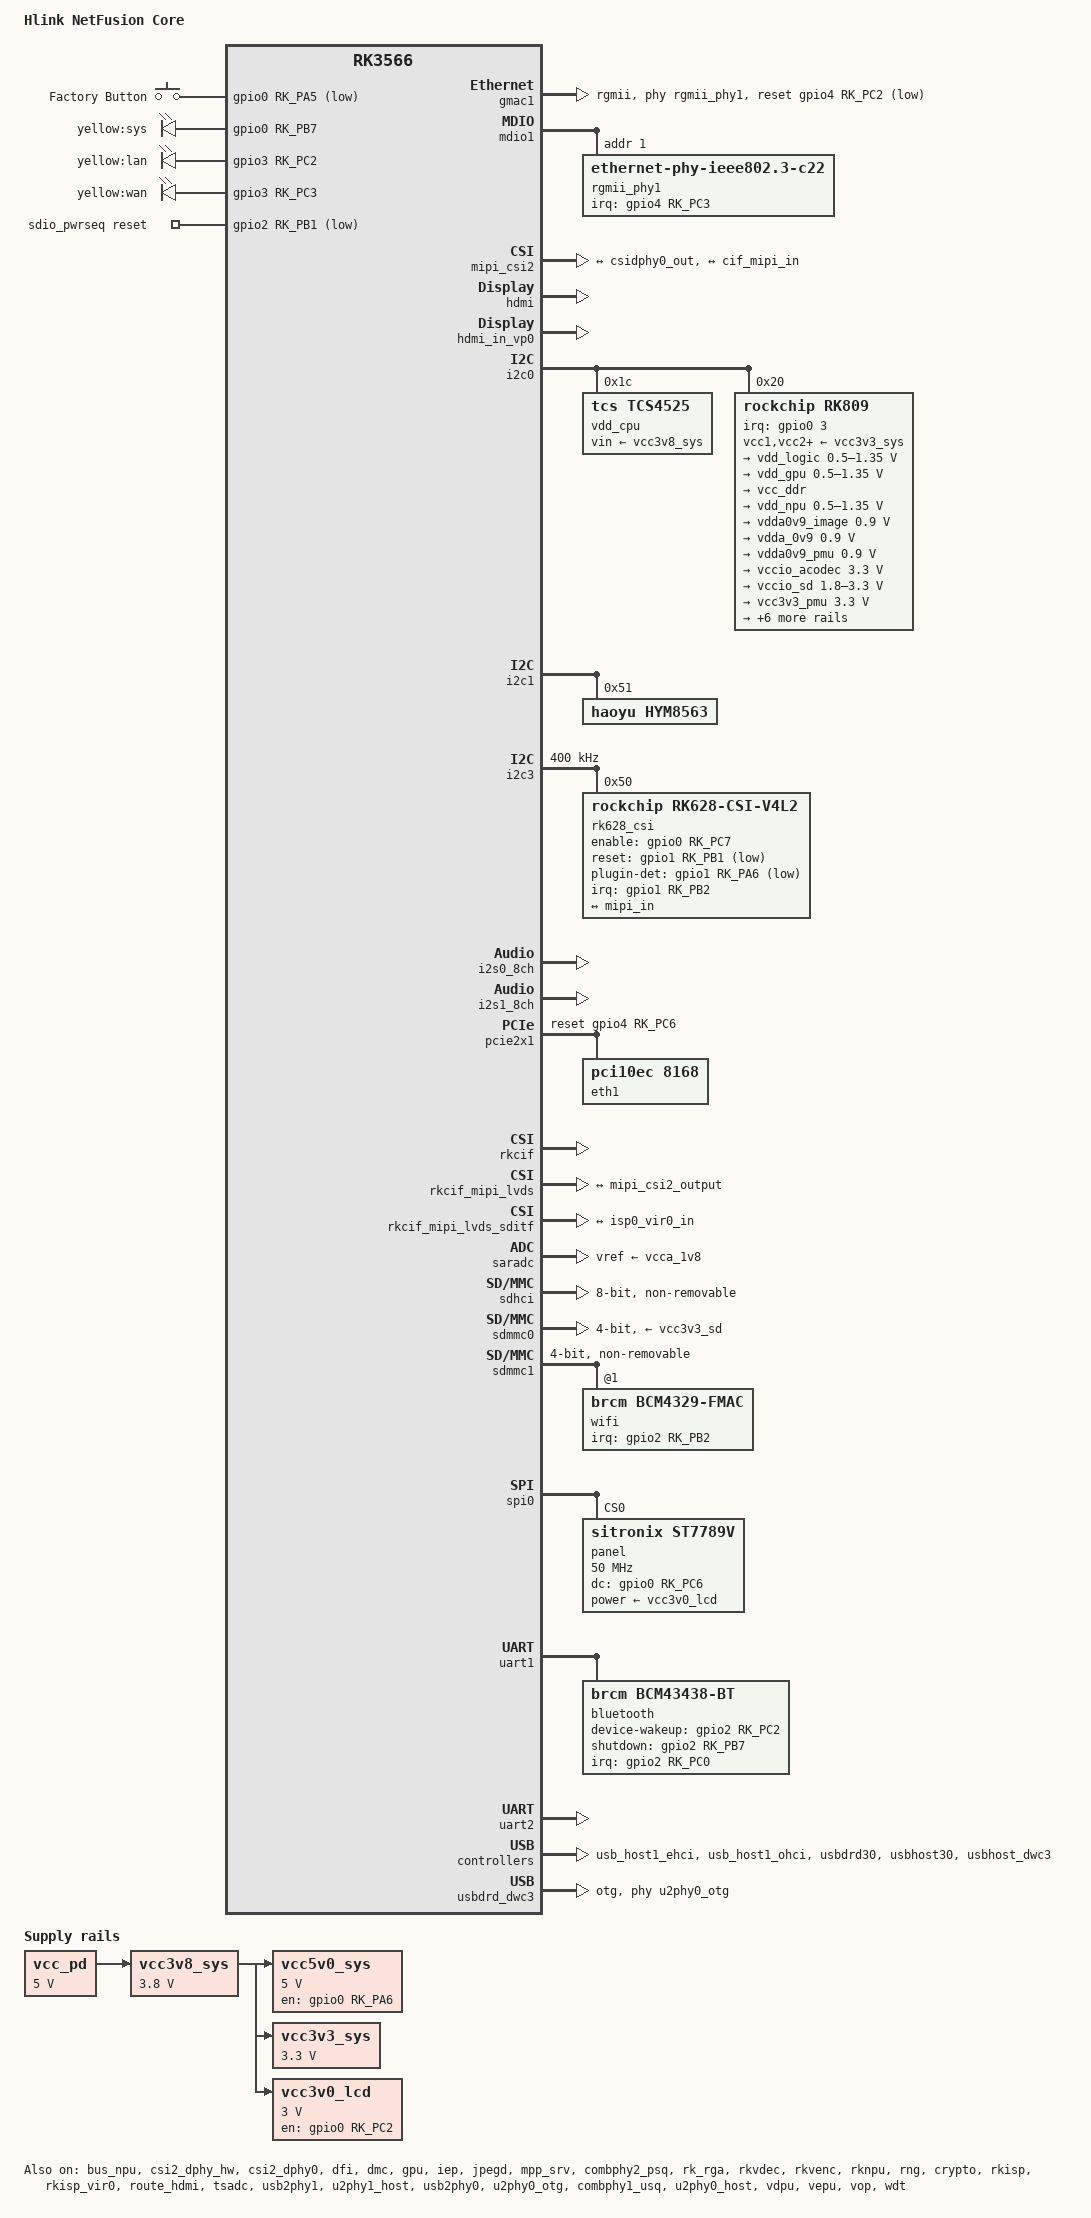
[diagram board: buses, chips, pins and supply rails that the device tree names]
// SPDX-License-Identifier: (GPL-2.0+ OR MIT)
/*
 * Copyright (c) 2025 flippy (flippy@sina.com)
 */

/dts-v1/;
#include <dt-bindings/gpio/gpio.h>
#include <dt-bindings/pwm/pwm.h>
#include <dt-bindings/pinctrl/rockchip.h>
#include <dt-bindings/input/linux-event-codes.h>
#include <dt-bindings/display/drm_mipi_dsi.h>
#include <dt-bindings/display/rockchip_vop.h>
#include <dt-bindings/sensor-dev.h>
#include "rk3566.dtsi"

/ {
	/* Hlink WJYL66 */
	model = "Hlink NetFusion Core";
	compatible = "hlink,netfusion", "rockchip,rk3566";

	chosen: chosen {
		bootargs = "earlycon=uart8250,mmio32,0xfe660000 console=ttyS2,1500000";
	};

	reserved_memory: reserved-memory {
		#address-cells = <2>;
		#size-cells = <2>;
		ranges;

		cma: cma {
			compatible = "shared-dma-pool";
			reusable;
			size = <0x0 0x10000000>;
			linux,cma-default;
		};
		
		ramoops: ramoops@110000 {
			compatible = "ramoops";
			reg = <0x0 0x110000 0x0 0xf0000>;
			record-size = <0x20000>;
			console-size = <0x80000>;
			ftrace-size = <0x00000>;
			pmsg-size = <0x50000>;
		};

		rknpu_reserved: rknpu {
			compatible = "shared-dma-pool";
			inactive;
			reusable;
			size = <0x0 0x20000000>;
			alignment = <0x0 0x1000>;
		};
	};

	aliases {
		mmc0 = &sdmmc0;
		mmc1 = &sdhci;
		mmc2 = &sdmmc1;
		rtc0 = &hym8563;
		rtc99= &rk808_rtc;
	};

	fiq-debugger {
		compatible = "rockchip,fiq-debugger";
		rockchip,serial-id = <2>;
		rockchip,wake-irq = <0>;
		/* If enable uart uses irq instead of fiq */
		rockchip,irq-mode-enable = <1>;
		rockchip,baudrate = <1500000>;  /* Only 115200 and 1500000 */
		interrupts = <GIC_SPI 252 IRQ_TYPE_LEVEL_LOW>;
		pinctrl-names = "default";
		pinctrl-0 = <&uart2m0_xfer>;
		status = "disabled";
	};

	firmware {
		optee: optee {
			compatible = "linaro,optee-tz";
			method = "smc";
		};
	};

	debug: debug@fd904000 {
		compatible = "rockchip,debug";
		reg = <0x0 0xfd904000 0x0 0x1000>,
			<0x0 0xfd905000 0x0 0x1000>,
			<0x0 0xfd906000 0x0 0x1000>,
			<0x0 0xfd907000 0x0 0x1000>;
	};

	cspmu: cspmu@fd90c000 {
		compatible = "rockchip,cspmu";
		reg = <0x0 0xfd90c000 0x0 0x1000>,
			<0x0 0xfd90d000 0x0 0x1000>,
			<0x0 0xfd90e000 0x0 0x1000>,
			<0x0 0xfd90f000 0x0 0x1000>;
	};

	gpio_keys: gpio-keys {
		compatible = "gpio-keys";
		pinctrl-names = "default";
		pinctrl-0 = <&key_factory_pin>;

		button@1 {
			debounce-interval = <60>;
			gpios = <&gpio0 RK_PA5 GPIO_ACTIVE_LOW>;
			label = "Factory Button";
			linux,code = <KEY_RESTART>;
		};
	};

	hdmi_sound: hdmi-sound {
		compatible = "simple-audio-card";
		simple-audio-card,format = "i2s";
		simple-audio-card,mclk-fs = <128>;
		simple-audio-card,name = "rockchip,hdmi";
		status = "okay";

		simple-audio-card,cpu {
				sound-dai = <&i2s0_8ch>;
		};

		simple-audio-card,codec {
				sound-dai = <&hdmi>;
		};
	};

	rk628_dummy_codec: rk628-dummy-codec {
		compatible = "rockchip,dummy-codec";
		#sound-dai-cells = <0>;
	};

	rk628_sound: rk628-sound {
		compatible = "simple-audio-card";
		simple-audio-card,format = "i2s";
		simple-audio-card,name = "rockchip,hdmirx";
		simple-audio-card,bitclock-master = <&dailink0_master>;
		simple-audio-card,frame-master = <&dailink0_master>;
		status = "okay";

		simple-audio-card,cpu {
			sound-dai = <&i2s1_8ch>;
		};

		dailink0_master: simple-audio-card,codec {
			sound-dai = <&rk628_dummy_codec>;
		};
	};

	gpio_leds: gpio-leds {
		compatible = "gpio-leds";

		led_sys: led-sys {
			gpios = <&gpio0 RK_PB7 GPIO_ACTIVE_HIGH>;
			label = "yellow:sys";
			linux,default-trigger = "heartbeat";
			pinctrl-names = "default";
			pinctrl-0 = <&led_sys_pin>;
		};

		led_lan: led-lan {
			gpios = <&gpio3 RK_PC2 GPIO_ACTIVE_HIGH>;
			label = "yellow:lan";
			pinctrl-names = "default";
			pinctrl-0 = <&led_lan_pin>;
		};

		led_wan: led-wan {
			gpios = <&gpio3 RK_PC3 GPIO_ACTIVE_HIGH>;
			label = "yellow:wan";
			pinctrl-names = "default";
			pinctrl-0 = <&led_wan_pin>;
		};
	};

	sdio_pwrseq: sdio-pwrseq {
		compatible = "mmc-pwrseq-simple";
		pinctrl-names = "default";
		pinctrl-0 = <&wifi_reg_on_h>;
		post-power-on-delay-ms = <200>;
		/*
		 * On the module itself this is one of these (depending
		 * on the actual card populated):
		 * - SDIO_RESET_L_WL_REG_ON
		 * - PDN (power down when low)
		 */
		reset-gpios = <&gpio2 RK_PB1 GPIO_ACTIVE_LOW>;
	};

	vcc_pd: regulator-vcc-pd {
		compatible = "regulator-fixed";
		regulator-name = "vcc_pd";
		regulator-always-on;
		regulator-boot-on;
		regulator-min-microvolt = <5000000>;
		regulator-max-microvolt = <5000000>;
	};

	vcc3v8_sys: regulator-vcc3v8-sys {
		compatible = "regulator-fixed";
		regulator-name = "vcc3v8_sys";
		regulator-always-on;
		regulator-boot-on;
		regulator-min-microvolt = <3800000>;
		regulator-max-microvolt = <3800000>;
		vin-supply = <&vcc_pd>;
	};

	vcc5v0_sys: regulator-vcc5v0-sys {
		compatible = "regulator-fixed";
		regulator-name = "vcc5v0_sys";
		enable-active-high;
		gpio = <&gpio0 RK_PA6 GPIO_ACTIVE_HIGH>;
		pinctrl-names = "default";
		pinctrl-0 = <&vcc5v0_sys_en>;
		regulator-boot-on;
		regulator-min-microvolt = <5000000>;
		regulator-max-microvolt = <5000000>;
		vin-supply = <&vcc3v8_sys>;
	};

	vcc3v3_sys: regulator-vcc3v3-sys {
		compatible = "regulator-fixed";
		regulator-name = "vcc3v3_sys";
		regulator-always-on;
		regulator-boot-on;
		regulator-min-microvolt = <3300000>;
		regulator-max-microvolt = <3300000>;
		vin-supply = <&vcc3v8_sys>;
	};

	vcc3v0_lcd: regulator-vcc3v0-lcd {
		compatible = "regulator-fixed";
		regulator-name = "vcc3v0_lcd";
		enable-active-high;
		gpio = <&gpio0 RK_PC2 GPIO_ACTIVE_HIGH>;
		pinctrl-names = "default";
		pinctrl-0 = <&vcc3v0_lcd_en>;
		regulator-always-on;
		regulator-boot-on;
		regulator-min-microvolt = <3000000>;
		regulator-max-microvolt = <3000000>;
		vin-supply = <&vcc3v8_sys>;
	};
};

&bus_npu {
	bus-supply = <&vdd_logic>;
	pvtm-supply = <&vdd_cpu>;
	status = "okay";
};

&cpu0 {
	cpu-supply = <&vdd_cpu>;
};

&csi2_dphy_hw {
	status = "okay";
};

&csi2_dphy0 {
	status = "okay";

	ports {
		#address-cells = <1>;
		#size-cells = <0>;
		port@0 {
			reg = <0>;
			#address-cells = <1>;
			#size-cells = <0>;

			mipi_in: endpoint@0 {
				reg = <0>;
				remote-endpoint = <&rk628_out>;
				data-lanes = <1 2 3 4>;
			};
		};

		port@1 {
			reg = <1>;
			#address-cells = <1>;
			#size-cells = <0>;

			csidphy0_out: endpoint@0 {
				reg = <0>;
				remote-endpoint = <&mipi_csi2_input>;
				data-lanes = <1 2 3 4>;
			};
		};
	};
};

&dfi {
	status = "okay";
};

&dmc {
	center-supply = <&vdd_logic>;
	status = "okay";
};

/* video_phy0/1 needs to be enabled when dsi0/1 is enabled */
&dsi0 {
	status = "disabled";
};

&dsi1 {
	status = "disabled";
};

/* GMAC1 + RTL8211F: eth0 */
&gmac1 {
	phy-mode = "rgmii";
	label = "eth0";

	assigned-clocks = <&cru SCLK_GMAC1_RX_TX>, <&cru SCLK_GMAC1>;
	/* output clock
	assigned-clock-parents = <&cru SCLK_GMAC1_RGMII_SPEED>, <&cru CLK_MAC1_2TOP>;
	assigned-clock-rates = <0>, <125000000>;
	clock_in_out = "output";

	pinctrl-0 = <&gmac1m0_miim
		     &gmac1m0_tx_bus2_level3
		     &gmac1m0_rx_bus2
		     &gmac1m0_rgmii_clk_level2
		     &gmac1m0_rgmii_bus_level3>;
	*/

	/* input clock */
	assigned-clock-parents = <&cru SCLK_GMAC1_RGMII_SPEED>, <&gmac1_clkin>;
	clock_in_out = "input";
	pinctrl-0 = <&gmac1m0_miim
		     &gmac1m0_tx_bus2_level3
		     &gmac1m0_rx_bus2
		     &gmac1m0_rgmii_clk_level2
		     &gmac1m0_rgmii_bus_level3
		     &gmac1m0_clkinout>;
	/* the end of inpuc clock */

	pinctrl-names = "default";
	phy-handle = <&rgmii_phy1>;

	tx_delay = <0x4e>;
	rx_delay = <0x2d>;

	snps,reset-gpio = <&gpio4 RK_PC2 GPIO_ACTIVE_LOW>;
	snps,reset-active-low;
	/* Reset time is 20ms, 100ms for rtl8211f */
	snps,reset-delays-us = <0 20000 100000>;

	status = "okay";
};

&mdio1 {
	/* RTL8211F */
	rgmii_phy1: phy@1 {
		compatible = "ethernet-phy-ieee802.3-c22";
		reg = <0x1>;
		interrupt-parent = <&gpio4>;
		interrupts = <RK_PC3 IRQ_TYPE_LEVEL_LOW>;
		pinctrl-names = "default";
		pinctrl-0 = <&gmac_int>;
	};
};

&mipi_csi2 {
	status = "okay";

	ports {
		#address-cells = <1>;
		#size-cells = <0>;

		port@0 {
			reg = <0>;
			#address-cells = <1>;
			#size-cells = <0>;

			mipi_csi2_input: endpoint@1 {
				reg = <1>;
				remote-endpoint = <&csidphy0_out>;
				data-lanes = <1 2 3 4>;
			};
		};

		port@1 {
			reg = <1>;
			#address-cells = <1>;
			#size-cells = <0>;

			mipi_csi2_output: endpoint@0 {
				reg = <0>;
				remote-endpoint = <&cif_mipi_in>;
				//remote-endpoint = <&isp0_in>;
				data-lanes = <1 2 3 4>;
			};
		};
	};
};

&gpu {
	mali-supply = <&vdd_gpu>;
	status = "okay";
};

&hdmi {
	status = "okay";
	rockchip,phy-table =
		<92812500  0x8009 0x0000 0x0270>,
		<165000000 0x800b 0x0000 0x026d>,
		<185625000 0x800b 0x0000 0x01ed>,
		<297000000 0x800b 0x0000 0x01ad>,
		<594000000 0x8029 0x0000 0x0088>,
		<000000000 0x0000 0x0000 0x0000>;
};

&hdmi_in_vp0 {
	status = "okay";
};

&hdmi_in_vp1 {
	status = "disabled";
};

&hdmi_sound {
	status = "okay";
};

&i2c0 {
	status = "okay";

	vdd_cpu: tcs4525@1c {
		compatible = "tcs,tcs4525";
		reg = <0x1c>;
		vin-supply = <&vcc3v8_sys>;
		regulator-compatible = "fan53555-reg";
		regulator-name = "vdd_cpu";
		regulator-min-microvolt = <712500>;
		regulator-max-microvolt = <1390000>;
		regulator-init-microvolt = <900000>;
		regulator-ramp-delay = <2300>;
		fcs,suspend-voltage-selector = <1>;
		regulator-boot-on;
		regulator-always-on;
		regulator-state-mem {
			regulator-off-in-suspend;
		};
	};

	/*
	vdd_cpu: rk8600@40 {
		compatible = "rockchip,rk8600";
		reg = <0x40>;
		vin-supply = <&vcc3v8_sys>;
		regulator-compatible = "rk860x-reg";
		regulator-name = "vdd_cpu";
		regulator-min-microvolt = <712500>;
		regulator-max-microvolt = <1390000>;
		regulator-init-microvolt = <900000>;
		regulator-ramp-delay = <2300>;
		rockchip,suspend-voltage-selector = <1>;
		regulator-boot-on;
		regulator-always-on;
		regulator-state-mem {
			regulator-off-in-suspend;
		};
	};
	*/

	rk809: pmic@20 {
		compatible = "rockchip,rk809";
		reg = <0x20>;
		interrupt-parent = <&gpio0>;
		interrupts = <3 IRQ_TYPE_LEVEL_LOW>;

		pinctrl-names = "default", "pmic-sleep",
				"pmic-power-off", "pmic-reset";
		pinctrl-0 = <&pmic_int>;
		pinctrl-1 = <&soc_slppin_slp>, <&rk817_slppin_slp>;
		pinctrl-2 = <&soc_slppin_gpio>, <&rk817_slppin_pwrdn>;
		pinctrl-3 = <&soc_slppin_gpio>, <&rk817_slppin_rst>;

		rockchip,system-power-controller;
		wakeup-source;
		#clock-cells = <1>;
		clock-output-names = "rk808-clkout1", "rk808-clkout2";
		//fb-inner-reg-idxs = <2>;
		/* 1: rst regs (default in codes), 0: rst the pmic */
		pmic-reset-func = <0>;
		/* not save the PMIC_POWER_EN register in uboot */
		not-save-power-en = <1>;

		vcc1-supply = <&vcc3v3_sys>;
		vcc2-supply = <&vcc3v3_sys>;
		vcc3-supply = <&vcc3v3_sys>;
		vcc4-supply = <&vcc3v3_sys>;
		vcc5-supply = <&vcc3v3_sys>;
		vcc6-supply = <&vcc3v3_sys>;
		vcc7-supply = <&vcc3v3_sys>;
		vcc8-supply = <&vcc3v3_sys>;
		vcc9-supply = <&vcc3v3_sys>;

		pwrkey {
			status = "okay";
		};

		pinctrl_rk8xx: pinctrl_rk8xx {
			gpio-controller;
			#gpio-cells = <2>;

			rk817_slppin_null: rk817_slppin_null {
				pins = "gpio_slp";
				function = "pin_fun0";
			};

			rk817_slppin_slp: rk817_slppin_slp {
				pins = "gpio_slp";
				function = "pin_fun1";
			};

			rk817_slppin_pwrdn: rk817_slppin_pwrdn {
				pins = "gpio_slp";
				function = "pin_fun2";
			};

			rk817_slppin_rst: rk817_slppin_rst {
				pins = "gpio_slp";
				function = "pin_fun3";
			};
		};

		regulators {
			vdd_logic: DCDC_REG1 {
				regulator-always-on;
				regulator-boot-on;
				regulator-min-microvolt = <500000>;
				regulator-max-microvolt = <1350000>;
				regulator-init-microvolt = <900000>;
				regulator-ramp-delay = <6001>;
				regulator-initial-mode = <0x2>;
				regulator-name = "vdd_logic";
				regulator-state-mem {
					regulator-off-in-suspend;
				};
			};

			vdd_gpu: DCDC_REG2 {
				regulator-always-on;
				regulator-boot-on;
				regulator-min-microvolt = <500000>;
				regulator-max-microvolt = <1350000>;
				regulator-init-microvolt = <900000>;
				regulator-ramp-delay = <6001>;
				regulator-initial-mode = <0x2>;
				regulator-name = "vdd_gpu";
				regulator-state-mem {
					regulator-off-in-suspend;
				};
			};

			vcc_ddr: DCDC_REG3 {
				regulator-always-on;
				regulator-boot-on;
				regulator-initial-mode = <0x2>;
				regulator-name = "vcc_ddr";
				regulator-state-mem {
					regulator-on-in-suspend;
				};
			};

			vdd_npu: DCDC_REG4 {
				regulator-always-on;
				regulator-boot-on;
				regulator-min-microvolt = <500000>;
				regulator-max-microvolt = <1350000>;
				regulator-init-microvolt = <900000>;
				regulator-ramp-delay = <6001>;
				regulator-initial-mode = <0x2>;
				regulator-name = "vdd_npu";
				regulator-state-mem {
					regulator-off-in-suspend;
				};
			};

			vdda0v9_image: LDO_REG1 {
				regulator-boot-on;
				regulator-always-on;
				regulator-min-microvolt = <900000>;
				regulator-max-microvolt = <900000>;
				regulator-name = "vdda0v9_image";
				regulator-state-mem {
					regulator-off-in-suspend;
				};
			};

			vdda_0v9: LDO_REG2 {
				regulator-always-on;
				regulator-boot-on;
				regulator-min-microvolt = <900000>;
				regulator-max-microvolt = <900000>;
				regulator-name = "vdda_0v9";
				regulator-state-mem {
					regulator-off-in-suspend;
				};
			};

			vdda0v9_pmu: LDO_REG3 {
				regulator-always-on;
				regulator-boot-on;
				regulator-min-microvolt = <900000>;
				regulator-max-microvolt = <900000>;
				regulator-name = "vdda0v9_pmu";
				regulator-state-mem {
					regulator-on-in-suspend;
					regulator-suspend-microvolt = <900000>;
				};
			};

			vccio_acodec: LDO_REG4 {
				regulator-always-on;
				regulator-boot-on;
				regulator-min-microvolt = <3300000>;
				regulator-max-microvolt = <3300000>;
				regulator-name = "vccio_acodec";
				regulator-state-mem {
					regulator-off-in-suspend;
				};
			};

			vccio_sd: LDO_REG5 {
				regulator-always-on;
				regulator-boot-on;
				regulator-min-microvolt = <1800000>;
				regulator-max-microvolt = <3300000>;
				regulator-name = "vccio_sd";
				regulator-state-mem {
					regulator-off-in-suspend;
				};
			};

			vcc3v3_pmu: LDO_REG6 {
				regulator-always-on;
				regulator-boot-on;
				regulator-min-microvolt = <3300000>;
				regulator-max-microvolt = <3300000>;
				regulator-name = "vcc3v3_pmu";
				regulator-state-mem {
					regulator-on-in-suspend;
					regulator-suspend-microvolt = <3300000>;
				};
			};

			vcca_1v8: LDO_REG7 {
				regulator-always-on;
				regulator-boot-on;
				regulator-min-microvolt = <1800000>;
				regulator-max-microvolt = <1800000>;
				regulator-name = "vcca_1v8";
				regulator-state-mem {
					regulator-off-in-suspend;
				};
			};

			vcca1v8_pmu: LDO_REG8 {
				regulator-always-on;
				regulator-boot-on;
				regulator-min-microvolt = <1800000>;
				regulator-max-microvolt = <1800000>;
				regulator-name = "vcca1v8_pmu";
				regulator-state-mem {
					regulator-on-in-suspend;
					regulator-suspend-microvolt = <1800000>;
				};
			};

			vcca1v8_image: LDO_REG9 {
				regulator-always-on;
				regulator-boot-on;
				regulator-min-microvolt = <1800000>;
				regulator-max-microvolt = <1800000>;
				regulator-name = "vcca1v8_image";
				regulator-state-mem {
					regulator-off-in-suspend;
				};
			};

			vcc_1v8: DCDC_REG5 {
				regulator-always-on;
				regulator-boot-on;
				regulator-min-microvolt = <1800000>;
				regulator-max-microvolt = <1800000>;
				regulator-name = "vcc_1v8";
				regulator-state-mem {
					regulator-off-in-suspend;
				};
			};

			vcc_3v3: SWITCH_REG1 {
				regulator-always-on;
				regulator-boot-on;
				regulator-name = "vcc_3v3";
				regulator-state-mem {
					regulator-off-in-suspend;
				};
			};

			vcc3v3_sd: SWITCH_REG2 {
				regulator-always-on;
				regulator-boot-on;
				regulator-name = "vcc3v3_sd";
				regulator-state-mem {
					regulator-off-in-suspend;
				};
			};
		};

		rk808_rtc: rtc {
			status = "okay";
		};
	};
};

&i2c1 {
	status = "okay";

	hym8563: hym8563@51 {
		compatible = "haoyu,hym8563";
		reg = <0x51>;
	};
};

&i2c3 {
	clock-frequency = <400000>;
	status = "okay";

	rk628_csi: rk628-csi@50 {
		reg = <0x50>;
		compatible = "rockchip,rk628-csi-v4l2";
		status = "okay";

		interrupt-parent = <&gpio1>;
		interrupts = <RK_PB2 IRQ_TYPE_LEVEL_HIGH>;
		enable-gpios = <&gpio0 RK_PC7 GPIO_ACTIVE_HIGH>;
		reset-gpios = <&gpio1 RK_PB1 GPIO_ACTIVE_LOW>;
		/* temporary used */
		plugin-det-gpios = <&gpio1 RK_PA6 GPIO_ACTIVE_LOW>;

		pinctrl-names = "default";
		pinctrl-0 = <&rk628_int_h>;
		//pinctrl-0 = <&rk628_int_h &rk628_enable_h &rk628_reset_l &rk628_det_l>;

		//continues-clk = <1>;
		//scaler-en = <1>;

		power-domains = <&power RK3568_PD_VI>;

		rockchip,camera-module-index = <0>;
		rockchip,camera-module-facing = "back";
		rockchip,camera-module-name = "RK628-CSI";
		rockchip,camera-module-lens-name = "NC";

		port {
			rk628_out: endpoint {
				remote-endpoint = <&mipi_in>;
				data-lanes = <1 2 3 4>;
			};
		};
	};

};

&i2s0_8ch {
	status = "okay";
};

&i2s1_8ch {
	rockchip,capture-only;
	rockchip,capture-channels = <2>;
	rockchip,i2s-rx-wait-time-ms = <50>;
	rockchip,i2s-rx-route = <3 2 1 0>;
	rockchip,clk-trcm = <2>;
	status = "okay";
	pinctrl-names = "default";
	pinctrl-0 = <&i2s1m0_sclktx
		     &i2s1m0_lrcktx
		     &i2s1m0_sdi3>;
};

&iep {
	status = "okay";
};

&iep_mmu {
	status = "okay";
};

&jpegd {
	status = "okay";
};

&jpegd_mmu {
	status = "okay";
};

&mpp_srv {
	status = "okay";
};

/*
 * PCIE2x1
 * phy: combphy2_psq
 * RTL8111H eth1
 */
&pcie2x1 {
	num-viewport = <4>;
	reset-gpios = <&gpio4 RK_PC6 GPIO_ACTIVE_HIGH>;
	vpcie3v3 = <&vcc3v3_sys>;
	status = "okay";

	pcie@0,0 {
		bus-range = <0x01 0x0f>;
		device_type = "pci";
		ranges;
		reg = <0x00000000 0 0 0 0>;
		#address-cells = <3>;
		#size-cells = <2>;

		rtl8168: pcie-eth@0,0 {
			compatible = "pci10ec,8168";
			label = "eth1";
			reg = <0x00010000 0 0 0 0>;
		};
	};
};

&combphy2_psq {
	status = "okay";
};

&pinctrl {
	bluetooth {
		bt_reg_on_h: bt-reg-on-h {
			rockchip,pins = <2 RK_PB7 RK_FUNC_GPIO &pcfg_pull_none>;
		};

		bt_wake_host_h: bt-wake-host-h {
			rockchip,pins = <2 RK_PC0 RK_FUNC_GPIO &pcfg_pull_none>;
		};

		bt_host_wake_h: bt-host-wake-h {
			rockchip,pins = <2 RK_PC2 RK_FUNC_GPIO &pcfg_pull_none>;
		};
	};

	gpio-key {
		key_factory_pin: key-factory-pin {
			rockchip,pins = <0 RK_PA5 RK_FUNC_GPIO &pcfg_pull_none>;
		};
	};

	gpio-leds {
		led_sys_pin: led-sys-pin {
			rockchip,pins = <0 RK_PB7 RK_FUNC_GPIO &pcfg_pull_none>;
		};

		led_lan_pin: led-lan-pin {
			rockchip,pins = <3 RK_PC2 RK_FUNC_GPIO &pcfg_pull_none>;
		};

		led_wan_pin: led-wan-pin {
			rockchip,pins = <3 RK_PC3 RK_FUNC_GPIO &pcfg_pull_none>;
		};
	};

	hdmirx {
		rk628_enable_h: rk628-enable-h {
			rockchip,pins = <0 RK_PC7 RK_FUNC_GPIO &pcfg_pull_none>;
		};

		rk628_int_h: rk628-int-h {
			rockchip,pins = <1 RK_PB2 RK_FUNC_GPIO &pcfg_pull_none>;
		};

		rk628_reset_l: rk628-reset-l {
			rockchip,pins = <1 RK_PB1 RK_FUNC_GPIO &pcfg_pull_up>;
		};

		rk628_det_l: rk628-det-l {
			rockchip,pins = <1 RK_PA6 RK_FUNC_GPIO &pcfg_pull_up>;
		};
	};

	gmac {
		gmac_int: gmac-int {
			rockchip,pins = <4 RK_PC3 RK_FUNC_GPIO &pcfg_pull_none>;
		};
	};

	lcd {
		lcd_dc_pin: lcd-dc-pin {
			rockchip,pins = <0 RK_PC6 RK_FUNC_GPIO &pcfg_pull_none>;
		};
	};

	pmic {
		pmic_int: pmic_int {
			rockchip,pins =
				<0 RK_PA3 RK_FUNC_GPIO &pcfg_pull_up>;
		};

		soc_slppin_gpio: soc_slppin_gpio {
			rockchip,pins =
				<0 RK_PA2 RK_FUNC_GPIO &pcfg_output_low>;
		};

		soc_slppin_slp: soc_slppin_slp {
			rockchip,pins =
				<0 RK_PA2 1 &pcfg_pull_none>;
		};

		soc_slppin_rst: soc_slppin_rst {
			rockchip,pins =
				<0 RK_PA2 2 &pcfg_pull_none>;
		};
	};

	regulator {
		vcc5v0_sys_en: vcc5v0-sys-en {
			rockchip,pins = <0 RK_PA6 RK_FUNC_GPIO &pcfg_pull_none>;
		};

		vcc3v0_lcd_en: vcc3v0-lcd-en {
			rockchip,pins = <0 RK_PC2 RK_FUNC_GPIO &pcfg_pull_none>;
		};
	};

	wifi {
		wifi_reg_on_h: wifi-reg-on-h {
			rockchip,pins = <2 RK_PB1 RK_FUNC_GPIO &pcfg_pull_none>;
		};

		wifi_wake_host_h: wifi-wake-host-h {
			rockchip,pins = <2 RK_PB2 RK_FUNC_GPIO &pcfg_pull_none>;
		};
	};
};

/*
 * There are 10 independent IO domains in RK3566/RK3568, including PMUIO[0:2] and VCCIO[1:7].
 * 1/ PMUIO0 and PMUIO1 are fixed-level power domains which cannot be configured;
 * 2/ PMUIO2 and VCCIO1,VCCIO[3:7] domains require that their hardware power supply voltages
 *    must be consistent with the software configuration correspondingly
 *	a/ When the hardware IO level is connected to 1.8V, the software voltage configuration
 *	   should also be configured to 1.8V accordingly;
 *	b/ When the hardware IO level is connected to 3.3V, the software voltage configuration
 *	   should also be configured to 3.3V accordingly;
 * 3/ VCCIO2 voltage control selection (0xFDC20140)
 *	BIT[0]: 0x0: from GPIO_0A7 (default)
 *	BIT[0]: 0x1: from GRF
 *    Default is determined by Pin FLASH_VOL_SEL/GPIO0_A7:
 *	L:VCCIO2 must supply 3.3V
 *	H:VCCIO2 must supply 1.8V
 */
&pmu_io_domains {
	status = "okay";
	pmuio2-supply = <&vcc3v3_pmu>;
	vccio1-supply = <&vcc_3v3>;
	vccio3-supply = <&vccio_sd>;
	vccio4-supply = <&vcc_1v8>;
	vccio5-supply = <&vcc_1v8>;
	vccio6-supply = <&vcc_1v8>;
	vccio7-supply = <&vcc_3v3>;
};

&rk_rga {
	status = "okay";
};

&rkvdec {
	rockchip,disable-auto-freq;
	assigned-clock-rates = <396000000>, <396000000>, <396000000>, <600000000>;
	status = "okay";
};

&rkvdec_mmu {
	status = "okay";
};

&rkvenc {
	venc-supply = <&vdd_logic>;
	status = "okay";
};

&rkvenc_mmu {
	status = "okay";
};

&rknpu {
	memory-region = <&rknpu_reserved>;
	rknpu-supply = <&vdd_npu>;
	status = "okay";
};

&rknpu_mmu {
	status = "okay";
};

&rng {
	status = "okay";
};

&crypto {
	status = "okay";
};

&rkcif {
	status = "okay";
};

&rkcif_mipi_lvds {
	status = "okay";

	port {
		cif_mipi_in: endpoint {
			remote-endpoint = <&mipi_csi2_output>;
			data-lanes = <1 2 3 4>;
		};
	};
};

&rkcif_mmu {
	status = "okay";
};

&rkcif_mipi_lvds_sditf {
	status = "okay";

	port {
		mipi_lvds_sditf_out: endpoint {
			remote-endpoint = <&isp0_vir0_in>;
		};
	};
};

&rkisp {
	status = "okay";
};

&rkisp_mmu {
	status = "okay";
};

&rkisp_vir0 {
	status = "okay";

	port {
		#address-cells = <1>;
		#size-cells = <0>;

		isp0_vir0_in: endpoint@0 {
			reg = <0>;
			remote-endpoint = <&mipi_lvds_sditf_out>;
		};
	};
};

&rockchip_suspend {
	status = "okay";
};

&route_hdmi {
	status = "okay";
	connect = <&vp0_out_hdmi>;
};

&saradc {
	status = "okay";
	vref-supply = <&vcca_1v8>;
};

/* EMMC */
&sdhci {
	bus-width = <8>;
	no-sdio;
	no-sd;
	non-removable;
	max-frequency = <200000000>;
	pinctrl-names = "default";
	pinctrl-0 = <&emmc_bus8 &emmc_clk &emmc_cmd &emmc_datastrobe>;
        mmc-hs200-1_8v;
	full-pwr-cycle-in-suspend;
	status = "okay";
};

/* TF card */
&sdmmc0 {
	max-frequency = <150000000>;
	no-sdio;
	no-mmc;
	bus-width = <4>;
	cap-mmc-highspeed;
	cap-sd-highspeed;
	disable-wp;
	sd-uhs-sdr104;
	vmmc-supply = <&vcc3v3_sd>;
	vqmmc-supply = <&vccio_sd>;
	pinctrl-names = "default";
	pinctrl-0 = <&sdmmc0_bus4 &sdmmc0_clk &sdmmc0_cmd &sdmmc0_det>;
	status = "okay";
};

/* SDIO AIC8800 WIFI */
&sdmmc1 {
	#address-cells = <1>;
	#size-cells = <0>;
	bus-width = <4>;
	max-frequency = <150000000>;
	supports-sdio;
	no-sd;
	no-mmc;
	disable-wp;
	cap-sd-highspeed;
	cap-sdio-irq;
	sd-uhs-sdr104;
	keep-power-in-suspend;
	mmc-pwrseq = <&sdio_pwrseq>;
	non-removable;
	pinctrl-names = "default";
	pinctrl-0 = <&sdmmc1_bus4 &sdmmc1_cmd &sdmmc1_clk>;
	rockchip,default-sample-phase = <180>;
	status = "okay";

	wifi: wifi@1 {
		compatible = "brcm,bcm4329-fmac";
		reg = <1>;
		interrupt-parent = <&gpio2>;
		interrupts = <RK_PB2 IRQ_TYPE_LEVEL_HIGH>;
		interrupt-names = "host-wake";
		pinctrl-names = "default";
		pinctrl-0 = <&wifi_wake_host_h>;
	};
};

/* LCD:   st7789v, 135(H) x 240(V), 8pin, 4Line SPI
 * pin1:  LEDA:  LED Anode.                                                      --> vcc3v0_lcd
 * pin2:  GND:   Power Ground.                                                   --> gnd
 * pin3:  RESET: This signal will reset th device, Signal is active low.         --> vcc3v0_lcd
 * pin4:  RS:    Display data/command selection pin in 4-line serial interface.  --> gpio0 RK_PC6
 * pin5:  SDA:   SPI interface input/output pin.                                 --> gpio0 RK_PB6 spi0_mosi_m0
 * pin6:  SCL:   This pin is used to be serial interface clock                   --> gpio0 RK_PB5 spi0_clk_m0
 * pin7:  VDD:   Power Supply for Analog                                         --> vcc3v0_lcd
 * pin8:  CS:    Chip selection pin. Low enable, High disable.                   --> gnd
 */
&spi0 {
	#address-cells = <1>;
	#size-cells = <0>;
	assigned-clock-rates = <200000000>;
	num-cs = <1>;
	pinctrl-names = "default", "high_speed";
	pinctrl-0 = <&spi0m0_pins>;
	pinctrl-1 = <&spi0m0_pins_hs>;
	status = "okay";

	panel@0 {
		compatible = "sitronix,st7789v";
		reg = <0>;
		power-supply = <&vcc3v0_lcd>;

		pinctrl-names = "default";
		pinctrl-0 = <&lcd_dc_pin>;
		dc-gpios = <&gpio0 RK_PC6 GPIO_ACTIVE_HIGH>;

		/* 50Mhz */
		spi-max-frequency = <50000000>;

		//width = <135>;
		//height = <240>;
		fps = <30>;
		buswidth = <8>;
		rotate = <90>;

		/* debug: 0-7 */
		debug = <0>;
		//spi-cpol;
		//spi-cpha;
	};
};

&tsadc {
	status = "okay";
};

/* AIC8800 Bluetooth */
&uart1 {
	status = "okay";
	pinctrl-names = "default";
	pinctrl-0 = <&uart1m0_xfer &uart1m0_ctsn &uart1m0_rtsn>;

	bluetooth: bluetooth {
		compatible = "brcm,bcm43438-bt";
		max-speed = <1500000>;

                interrupt-parent = <&gpio2>;
                interrupts = <RK_PC0 IRQ_TYPE_LEVEL_HIGH>;
                interrupt-names = "host-wakeup";

		device-wakeup-gpios = <&gpio2 RK_PC2 GPIO_ACTIVE_HIGH>;
		shutdown-gpios = <&gpio2 RK_PB7 GPIO_ACTIVE_HIGH>;

		pinctrl-names = "default";
		pinctrl-0 = <&bt_reg_on_h &bt_wake_host_h &bt_host_wake_h>;
	};
};

/* debug */
&uart2 {
	status = "okay";
};

/* RS485 IO Port */
&uart4 {
	status = "disabled";
};

/* USB2.0 Host
 * host0_ehci/host0_ohci -> u2phy1_otg not used
 * host1_ehci/host1_ohci -> u2phy1_host used for 4G LTE Modem
 */
&usb2phy1 {
	status = "okay";
};

&u2phy1_otg {
	status = "disabled";
};

&u2phy1_host {
	phy-supply = <&vcc5v0_sys>;
	status = "okay";
};

&usb_host0_ehci {
	status = "disabled";
};

&usb_host0_ohci {
	status = "disabled";
};

&usb_host1_ehci {
	status = "okay";
};

&usb_host1_ohci {
	status = "okay";
};
/* The end of USB2.0 Host */

/*
 * USB2.0 OTG (Type-C)
 * usbdrd30 -> usbdrd_dwc3
 * usb2phy0 -> u2phy0_otg
 */
&usb2phy0 {
	status = "okay";
};

&u2phy0_otg {
	vbus-supply = <&vcc5v0_sys>;
	status = "okay";
};

&usbdrd30 {
	status = "okay";
};

&usbdrd_dwc3 {
	phys = <&u2phy0_otg>;
	phy-names = "usb2-phy";
	dr_mode = "otg";
	extcon = <&usb2phy0>;
	status = "okay";
};
/* The end of USB2.0 OTG */

/*
 * USB3.0 Host (Type-A)
 * phys: u2phy0_host and combphy1_usq
 */
&usbhost30 {
	status = "okay";
};

&usbhost_dwc3 {
	status = "okay";
};

&combphy1_usq {
	status = "okay";
};

&u2phy0_host {
	phy-supply = <&vcc5v0_sys>;
	status = "okay";
};
/* The end of USB3.0 HOST */

&vad {
	rockchip,buffer-time-ms = <128>;
	rockchip,audio-src = <&i2s1_8ch>;
	rockchip,det-channel = <3>;
	rockchip,mode = <0>;
	status = "disabled";
};

&vdpu {
	status = "okay";
};

&vdpu_mmu {
	status = "okay";
};

&vepu {
	status = "okay";
};

&vepu_mmu {
	status = "okay";
};

&video_phy0 {
	status = "disabled";
};

&video_phy1 {
	status = "disabled";
};

&vop {
	status = "okay";
	vop-supply = <&vdd_logic>;
	assigned-clocks = <&cru DCLK_VOP0>, <&cru DCLK_VOP1>, <&cru DCLK_VOP2>;
	assigned-clock-parents = <&pmucru PLL_HPLL>, <&cru PLL_VPLL>, <&cru PLL_GPLL>;
	//support-multi-area;
};

&vop_mmu {
	status = "okay";
};

&wdt {
	status = "okay";
};
